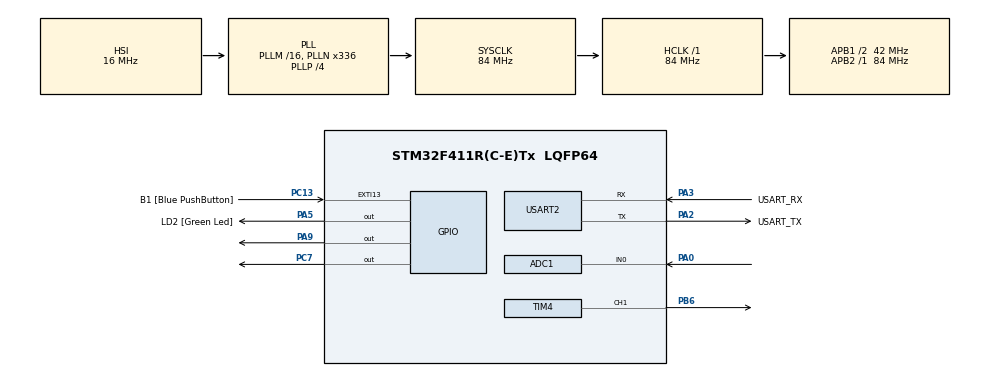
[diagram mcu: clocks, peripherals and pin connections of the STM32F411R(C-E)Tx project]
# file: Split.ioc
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ADC1.Channel-0\#ChannelRegularConversion=ADC_CHANNEL_0
ADC1.DMAContinuousRequests=ENABLE
ADC1.DiscontinuousConvMode=ENABLE
ADC1.EOCSelection=ADC_EOC_SEQ_CONV
ADC1.ExternalTrigConv=ADC_EXTERNALTRIGCONV_T3_TRGO
ADC1.ExternalTrigConvEdge=ADC_EXTERNALTRIGCONVEDGE_FALLING
ADC1.NbrOfConversionFlag=1
ADC1.Rank-0\#ChannelRegularConversion=1
ADC1.SamplingTime-0\#ChannelRegularConversion=ADC_SAMPLETIME_3CYCLES
ADC1.ScanConvMode=ENABLE
ADC1.master=1
Dma.ADC1.0.Direction=DMA_PERIPH_TO_MEMORY
Dma.ADC1.0.FIFOMode=DMA_FIFOMODE_DISABLE
Dma.ADC1.0.Instance=DMA2_Stream0
Dma.ADC1.0.MemDataAlignment=DMA_MDATAALIGN_HALFWORD
Dma.ADC1.0.MemInc=DMA_MINC_ENABLE
Dma.ADC1.0.Mode=DMA_CIRCULAR
Dma.ADC1.0.PeriphDataAlignment=DMA_PDATAALIGN_HALFWORD
Dma.ADC1.0.PeriphInc=DMA_PINC_DISABLE
Dma.ADC1.0.Priority=DMA_PRIORITY_LOW
Dma.Request0=ADC1
FREERTOS.BinarySemaphores01=mySem01,Dynamic,NULL
FREERTOS.Tasks01=Task01,0,128,StartTask01,Default,NULL,Dynamic,NULL,NULL;Task02,0,128,StartTask02,Default,NULL,Dynamic,NULL,NULL;LEDON,0,128,LED_ON,Default,NULL,Dynamic,NULL,NULL;myTask03,0,128,StartTask03,Default,NULL,Dynamic,NULL,NULL
FREERTOS.configUSE_NEWLIB_REENTRANT=1
Mcu.Family=STM32F4
Mcu.Name=STM32F411R(C-E)Tx
Mcu.Package=LQFP64
NVIC.DMA2_Stream0_IRQn=true\:5\:0\:false\:false\:true\:true\:false\:true\:true
NVIC.PriorityGroup=NVIC_PRIORITYGROUP_4
NVIC.TIM1_TRG_COM_TIM11_IRQn=true\:15\:0\:false\:false\:true\:false\:false\:true\:true
NVIC.TimeBase=TIM1_TRG_COM_TIM11_IRQn
NVIC.TimeBaseIP=TIM11
PA0-WKUP.Signal=ADCx_IN0
PA13.GPIO_Label=TMS
PA13.Mode=Serial_Wire
PA13.Signal=SYS_JTMS-SWDIO
PA14.GPIO_Label=TCK
PA14.Mode=Serial_Wire
PA14.Signal=SYS_JTCK-SWCLK
PA2.GPIO_Label=USART_TX
PA2.Mode=Asynchronous
PA2.Signal=USART2_TX
PA3.GPIO_Label=USART_RX
PA3.Mode=Asynchronous
PA3.Signal=USART2_RX
PA5.GPIO_Label=LD2 [Green Led]
PA5.Signal=GPIO_Output
PA9.Signal=GPIO_Output
PB3.GPIO_Label=SWO
PB3.Signal=SYS_JTDO-SWO
PB6.Signal=S_TIM4_CH1
PC13-ANTI_TAMP.GPIO_Label=B1 [Blue PushButton]
PC13-ANTI_TAMP.GPIO_ModeDefaultEXTI=GPIO_MODE_IT_FALLING
PC13-ANTI_TAMP.Signal=GPXTI13
PC14-OSC32_IN.Mode=LSE-External-Oscillator
PC14-OSC32_IN.Signal=RCC_OSC32_IN
PC15-OSC32_OUT.Mode=LSE-External-Oscillator
PC15-OSC32_OUT.Signal=RCC_OSC32_OUT
PC7.Signal=GPIO_Output
PH0\ -\ OSC_IN.Mode=HSE-External-Clock-Source
PH0\ -\ OSC_IN.Signal=RCC_OSC_IN
PH1\ -\ OSC_OUT.Mode=HSE-External-Clock-Source
PH1\ -\ OSC_OUT.Signal=RCC_OSC_OUT
ProjectManager.HeapSize=0x200
ProjectManager.StackSize=0x400
ProjectManager.TargetToolchain=STM32CubeIDE
RCC.48MHZClocksFreq_Value=84000000
RCC.AHBFreq_Value=84000000
RCC.APB1CLKDivider=RCC_HCLK_DIV2
RCC.APB1Freq_Value=42000000
RCC.APB1TimFreq_Value=84000000
RCC.APB2Freq_Value=84000000
RCC.APB2TimFreq_Value=84000000
RCC.CortexFreq_Value=84000000
RCC.FLatency-AdvancedSettings=FLASH_LATENCY_2
RCC.HCLKFreq_Value=84000000
RCC.HSE_VALUE=8000000
RCC.HSI_VALUE=16000000
RCC.PLLN=336
RCC.PLLP=RCC_PLLP_DIV4
RCC.SYSCLKFreq_VALUE=84000000
RCC.SYSCLKSource=RCC_SYSCLKSOURCE_PLLCLK
RCC.VCOOutputFreq_Value=336000000
SH.ADCx_IN0.0=ADC1_IN0,IN0
SH.S_TIM4_CH1.0=TIM4_CH1,PWM Generation1 CH1
TIM3.Period=10000-1
TIM3.Prescaler=4200-1
TIM3.TIM_MasterOutputTrigger=TIM_TRGO_UPDATE
TIM4.Channel-PWM\ Generation1\ CH1=TIM_CHANNEL_1
TIM4.Period=1000-1
TIM4.Prescaler=84-1
USART2.VirtualMode=VM_ASYNC
VP_FREERTOS_VS_CMSIS_V1.Mode=CMSIS_V1
VP_SYS_VS_tim11.Mode=TIM11
VP_TIM3_VS_ClockSourceINT.Mode=Internal
VP_TIM4_VS_ClockSourceINT.Mode=Internal
board=NUCLEO-F411RE

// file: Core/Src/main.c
/* USER CODE BEGIN Header */
/**
  ******************************************************************************
  * @file           : main.c
  * @brief          : Main program body
  ******************************************************************************
  * @attention
  *
  * Copyright (c) 2023 STMicroelectronics.
  * All rights reserved.
  *
  * This software is licensed under terms that can be found in the LICENSE file
  * in the root directory of this software component.
  * If no LICENSE file comes with this software, it is provided AS-IS.
  *
  ******************************************************************************
  */
/* USER CODE END Header */
#include "main.h"
#include "cmsis_os.h"
#include "dma.h"
#include "tim.h"
#include "usart.h"
#include "gpio.h"

/* USER CODE BEGIN Includes */
#include "../../../myLib/Src/myLib.c"
/* USER CODE END Includes */

void SystemClock_Config(void);
void MX_FREERTOS_Init(void);

int main(void)
{

  /* MCU Configuration--------------------------------------------------------*/

  /* Reset of all peripherals, Initializes the Flash interface and the Systick. */
  HAL_Init();

  /* Configure the system clock */
  SystemClock_Config();

  /* Initialize all configured peripherals */
  MX_GPIO_Init();
  MX_DMA_Init();
  MX_USART2_UART_Init();
  MX_ADC1_Init();
  MX_TIM4_Init();
  MX_TIM3_Init();
  /* USER CODE BEGIN 2 */
  printf("\033[1J\033[1;1HProgram start\r\n");

  HAL_TIM_Base_Start(&htim3);

  /* USER CODE END 2 */

  /* Call init function for freertos objects (in freertos.c) */
  MX_FREERTOS_Init();

  /* Start scheduler */
  osKernelStart();

  /* We should never get here as control is now taken by the scheduler */
  /* Infinite loop */
  while (1)
  {

  }
}

void SystemClock_Config(void)
{
  RCC_OscInitTypeDef RCC_OscInitStruct = {0};
  RCC_ClkInitTypeDef RCC_ClkInitStruct = {0};

  /** Configure the main internal regulator output voltage
  */
  __HAL_RCC_PWR_CLK_ENABLE();
  __HAL_PWR_VOLTAGESCALING_CONFIG(PWR_REGULATOR_VOLTAGE_SCALE1);

  /** Initializes the RCC Oscillators according to the specified parameters
  * in the RCC_OscInitTypeDef structure.
  */
  RCC_OscInitStruct.OscillatorType = RCC_OSCILLATORTYPE_HSI;
  RCC_OscInitStruct.HSIState = RCC_HSI_ON;
  RCC_OscInitStruct.HSICalibrationValue = RCC_HSICALIBRATION_DEFAULT;
  RCC_OscInitStruct.PLL.PLLState = RCC_PLL_ON;
  RCC_OscInitStruct.PLL.PLLSource = RCC_PLLSOURCE_HSI;
  RCC_OscInitStruct.PLL.PLLM = 16;
  RCC_OscInitStruct.PLL.PLLN = 336;
  RCC_OscInitStruct.PLL.PLLP = RCC_PLLP_DIV4;
  RCC_OscInitStruct.PLL.PLLQ = 4;
  if (HAL_RCC_OscConfig(&RCC_OscInitStruct) != HAL_OK)
  {
    Error_Handler();
  }

  /** Initializes the CPU, AHB and APB buses clocks
  */
  RCC_ClkInitStruct.ClockType = RCC_CLOCKTYPE_HCLK|RCC_CLOCKTYPE_SYSCLK
                              |RCC_CLOCKTYPE_PCLK1|RCC_CLOCKTYPE_PCLK2;
  RCC_ClkInitStruct.SYSCLKSource = RCC_SYSCLKSOURCE_PLLCLK;
  RCC_ClkInitStruct.AHBCLKDivider = RCC_SYSCLK_DIV1;
  RCC_ClkInitStruct.APB1CLKDivider = RCC_HCLK_DIV2;
  RCC_ClkInitStruct.APB2CLKDivider = RCC_HCLK_DIV1;

  if (HAL_RCC_ClockConfig(&RCC_ClkInitStruct, FLASH_LATENCY_2) != HAL_OK)
  {
    Error_Handler();
  }
}

void HAL_TIM_PeriodElapsedCallback(TIM_HandleTypeDef *htim)
{
  if (htim->Instance == TIM11) {
    HAL_IncTick();
  }
}

void Error_Handler(void)
{
  __disable_irq();
  while (1)
  {
  }
}

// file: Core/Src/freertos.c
/* USER CODE BEGIN Header */
/**
  ******************************************************************************
  * File Name          : freertos.c
  * Description        : Code for freertos applications
  ******************************************************************************
  * @attention
  *
  * Copyright (c) 2023 STMicroelectronics.
  * All rights reserved.
  *
  * This software is licensed under terms that can be found in the LICENSE file
  * in the root directory of this software component.
  * If no LICENSE file comes with this software, it is provided AS-IS.
  *
  ******************************************************************************
  */
/* USER CODE END Header */

#include "FreeRTOS.h"
#include "task.h"
#include "main.h"
#include "cmsis_os.h"

/* USER CODE BEGIN Includes */
#include "adc.h"
#include "dma.h"
#include "tim.h"
/* USER CODE END Includes */

/* USER CODE BEGIN Variables */

short dValue[1] = {0};

/* USER CODE END Variables */
osThreadId Task01Handle;
osThreadId Task02Handle;
osThreadId LEDONHandle;
osThreadId myTask03Handle;
osSemaphoreId mySem01Handle;

void StartTask01(void const * argument);
void StartTask02(void const * argument);
void LED_ON(void const * argument);
void StartTask03(void const * argument);

void MX_FREERTOS_Init(void); /* (MISRA C 2004 rule 8.1) */

/* GetIdleTaskMemory prototype (linked to static allocation support) */
void vApplicationGetIdleTaskMemory( StaticTask_t **ppxIdleTaskTCBBuffer, StackType_t **ppxIdleTaskStackBuffer, uint32_t *pulIdleTaskStackSize );

/* USER CODE BEGIN GET_IDLE_TASK_MEMORY */
static StaticTask_t xIdleTaskTCBBuffer;
static StackType_t xIdleStack[configMINIMAL_STACK_SIZE];

void vApplicationGetIdleTaskMemory( StaticTask_t **ppxIdleTaskTCBBuffer, StackType_t **ppxIdleTaskStackBuffer, uint32_t *pulIdleTaskStackSize )
{
  *ppxIdleTaskTCBBuffer = &xIdleTaskTCBBuffer;
  *ppxIdleTaskStackBuffer = &xIdleStack[0];
  *pulIdleTaskStackSize = configMINIMAL_STACK_SIZE;
  /* place for user code */
}
/* USER CODE END GET_IDLE_TASK_MEMORY */

void MX_FREERTOS_Init(void) {
  /* USER CODE BEGIN Init */
  HAL_ADC_Start_DMA(&hadc1, dValue, sizeof(short));
  HAL_TIM_PWM_Start(&htim4, TIM_CHANNEL_1);
  /* USER CODE END Init */

  /* Create the semaphores(s) */
  /* definition and creation of mySem01 */
  osSemaphoreDef(mySem01);
  mySem01Handle = osSemaphoreCreate(osSemaphore(mySem01), 1);

  /* USER CODE BEGIN RTOS_SEMAPHORES */
  /* add semaphores, ... */

  //osSemaphoreRelease(mySem01Handle);
  /* USER CODE END RTOS_SEMAPHORES */

  /* Create the thread(s) */
  /* definition and creation of Task01 */
  osThreadDef(Task01, StartTask01, osPriorityNormal, 0, 128);
  Task01Handle = osThreadCreate(osThread(Task01), NULL);

  /* definition and creation of Task02 */
  osThreadDef(Task02, StartTask02, osPriorityNormal, 0, 128);
  Task02Handle = osThreadCreate(osThread(Task02), NULL);

  /* definition and creation of LEDON */
  osThreadDef(LEDON, LED_ON, osPriorityNormal, 0, 128);
  LEDONHandle = osThreadCreate(osThread(LEDON), NULL);

  /* definition and creation of myTask03 */
  osThreadDef(myTask03, StartTask03, osPriorityNormal, 0, 128);
  myTask03Handle = osThreadCreate(osThread(myTask03), NULL);

}

void StartTask01(void const * argument)
{
  /* USER CODE BEGIN StartTask01 */
	int n = 0;
  /* Infinite loop */
  for(;;)
  {
	  if(osSemaphoreWait(mySem01Handle, 0) == osOK)
	  {
		  printf("\033[3;1HTask1 ..... %d \r\n", n++);

		  HAL_GPIO_TogglePin(GPIOA, GPIO_PIN_9);

		  myDelay(500 * 100);

		  osSemaphoreRelease(mySem01Handle);
	  }

    osDelay(1);
  }
  /* USER CODE END StartTask01 */
}

void StartTask02(void const * argument)
{
  /* USER CODE BEGIN StartTask02 */
	int n = 0;
  /* Infinite loop */
  for(;;)
  {
	  if(osSemaphoreWait(mySem01Handle, 0) == osOK)
	  {
		  printf("\033[5;1HTask2 .... %d \r\n", n++);

		  HAL_GPIO_TogglePin(GPIOC, GPIO_PIN_7);

		  myDelay(1000 * 100);

		  osSemaphoreRelease(mySem01Handle);
	  }

    osDelay(1);
  }
  /* USER CODE END StartTask02 */
}

void LED_ON(void const * argument)
{
  /* USER CODE BEGIN LED_ON */
	int n = 0;
  /* Infinite loop */
  for(;;)
  {
	  if(osSemaphoreWait(mySem01Handle, 0) == osOK)
	  {
		  printf("\033[7;1HTask3 .... %d \r\n", n++);

//		  if(HAL_GPIO_ReadPin(B1_GPIO_Port, B1_Pin) == 0)
//		  {
//			  HAL_GPIO_WritePin(GPIOB, GPIO_PIN_6, 1);
//
//			  printf("\033[9;1HLED  ON \r\n");
//		  }
//		  else
//		  {
//			  HAL_GPIO_WritePin(GPIOB, GPIO_PIN_6, 0);
//
//			  printf("\033[9;1HLED OFF \r\n");
//		  }

		  printf("\033[9;1HLED VALUE : %d \r\n", dValue[0] * 1000 / 4095);

		  htim4.Instance->CCR1 = dValue[0] * 1000 / 4095;

		  osSemaphoreRelease(mySem01Handle);
	  }
    osDelay(1);
  }
  /* USER CODE END LED_ON */
}

void StartTask03(void const * argument)
{
  for(;;)
  {
    osDelay(1);
  }
}
